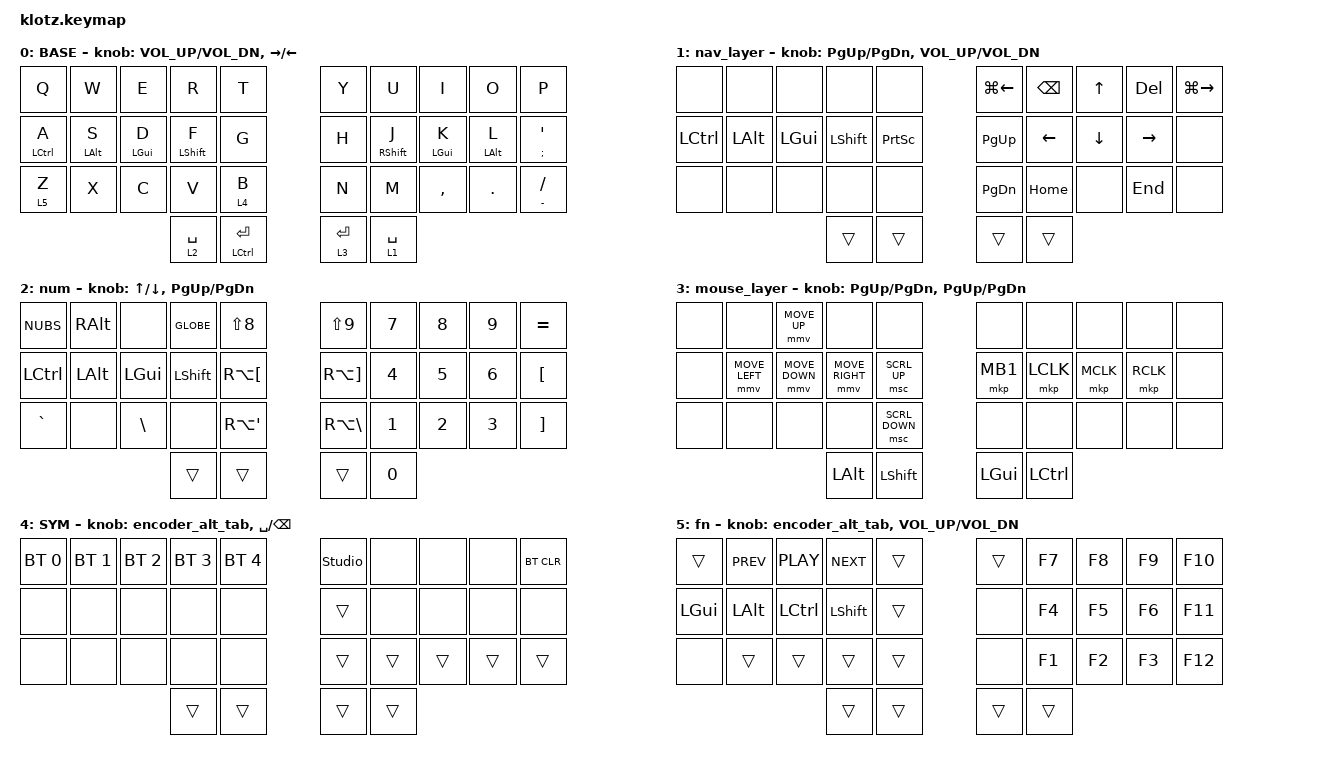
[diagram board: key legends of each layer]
//                                      █         ██        ▄▀▀▀▀▀▀▀▀▀▀█▀▀▀▀▀▀▀▀█▀▀▀▀▀▀▀▀▀▀█
//                                      █        █ █      ▄▀            ▀▄      █         █
//                                      █       █  █    ▄▀                ▀▄    █        █
//                                      █      █   █   █                    █   █       █
//                                      █     █    █   █                    █   █      █
//                                      █    █     █   █                    █   █  ▀▀▀█▀▀▀▀
//                                      █   █ █    █   █                    █   █    █
//                                      █  █   █   █   █                    █   █   █
//                                      █ █     █  █    ▀▄                ▄▀    █  █
//                                      ██       █ █      ▀▄            ▄▀      █ █
//                                      █         ██▄▄▄▄▄▄▄▄█▄▄▄▄▄▄▄▄▄▄▀        ██▄▄▄▄▄▄▄▄▄▄
//
// ▄▄▄▄▄▄▄▄▄▄▄▄▄▄▄▄▄▄▄▄▄▄▄▄▄▄▄▄▄▄▄▄▄▄▄▄▄▄▄▄▄▄▄▄▄▄▄▄▄▄▄▄▄▄▄▄▄▄▄▄▄▄▄▄▄▄▄▄▄▄▄▄▄▄▄▄▄▄▄▄▄▄▄▄▄▄▄▄▄▄▄▄▄▄▄▄▄▄▄▄▄▄▄▄▄▄▄▄▄▄▄▄▄▄▄▄▄▄▄▄▄▄▄▄▄

#include <behaviors.dtsi>
#include <dt-bindings/zmk/bt.h>
#include <dt-bindings/zmk/keys.h>
#include <dt-bindings/zmk/pointing.h>

#define ZMK_POINTING_DEFAULT_MOVE_VAL 2000  // default: 600
#define ZMK_POINTING_DEFAULT_SCRL_VAL 30   // default: 10
#define ZMK_MOUSE_SCRL_VAL 120
#define BASE 0
#define NAV  1
#define SYM  2
#define ADJ  3
#define JMP  4
#define OSL  5
#define COMBOMS 25

&lt {
    flavor = "tap-preferred";
    tapping-term-ms = <180>;
    hold-trigger-key-positions = <>;
};

/ {
    combos {
        // BASE

        compatible = "zmk,combos";

        combo_backspace {
            timeout-ms = <COMBOMS>;
            key-positions = <0 1>;
            bindings = <&kp BACKSPACE>;
            layers = <0>;
        };

        compatible = "zmk,combos";

        // GLOBAL

        compatible = "zmk,combos";
        compatible = "zmk,combos";
        compatible = "zmk,combos";

        combo_tab {
            timeout-ms = <COMBOMS>;
            key-positions = <13 12>;
            bindings = <&kp TAB>;
            layers = <0>;
        };

        compatible = "zmk,combos";

        combo_bspc {
            timeout-ms = <COMBOMS>;
            key-positions = <16 17>;
            bindings = <&kp BSPC>;
            layers = <0>;
        };

        compatible = "zmk,combos";

        combo_esc {
            timeout-ms = <COMBOMS>;
            key-positions = <11 12 13>;
            bindings = <&kp ESCAPE>;
        };

        compatible = "zmk,combos";
        compatible = "zmk,combos";
        compatible = "zmk,combos";
        compatible = "zmk,combos";
        compatible = "zmk,combos";
        compatible = "zmk,combos";
        compatible = "zmk,combos";
        compatible = "zmk,combos";
        compatible = "zmk,combos";

        combo_mouse {
            bindings = <&tog 3>;
            key-positions = <30 31>;
        };

        combo_capsword {
            bindings = <&caps_word>;
            key-positions = <13 16>;
        };
    };

    macros {
        macro_esc: macro_esc {
            compatible = "zmk,behavior-macro";
            #binding-cells = <0>;
            bindings = <&to 0 &kp ESC>;
        };

        tabcw: tabcw {
            compatible = "zmk,behavior-macro";
            #binding-cells = <0>;
            bindings = <&macro_tap>, <&kp TAB>;
        };

        tabccw: tabccw {
            compatible = "zmk,behavior-macro";
            #binding-cells = <0>;
            bindings =
                <&macro_press>,
                <&kp LCTRL>,
                <&macro_tap>,
                <&kp TAB>,
                <&macro_release>,
                <&kp LCTRL>;
        };

        macro_ctrlz: macro_ctrlz {
            compatible = "zmk,behavior-macro";
            #binding-cells = <0>;
            bindings =
                <&macro_press>,
                <&kp LCTRL>,
                <&macro_tap>,
                <&kp Z>,
                <&macro_release>,
                <&kp LCTRL>;
        };

        macro_ctrlshftz: macro_ctrlshftz {
            compatible = "zmk,behavior-macro";
            #binding-cells = <0>;
            bindings =
                <&macro_press>,
                <&kp LCTRL>,
                <&macro_press>,
                <&kp LSHFT>,
                <&macro_tap>,
                <&kp Z>,
                <&macro_release>,
                <&kp LCTRL>,
                <&macro_release>,
                <&kp LSHFT>;
        };

        macro_ctrlx: macro_ctrlx {
            compatible = "zmk,behavior-macro";
            #binding-cells = <0>;
            bindings =
                <&macro_press>,
                <&kp LCTRL>,
                <&macro_tap>,
                <&kp X>,
                <&macro_release>,
                <&kp LCTRL>;
        };

        macro_ctrlc: macro_ctrlc {
            compatible = "zmk,behavior-macro";
            #binding-cells = <0>;
            bindings =
                <&macro_press>,
                <&kp LCTRL>,
                <&macro_tap>,
                <&kp C>,
                <&macro_release>,
                <&kp LCTRL>;
        };

        macro_ctrlv: macro_ctrlv {
            compatible = "zmk,behavior-macro";
            #binding-cells = <0>;
            bindings =
                <&macro_press>,
                <&kp LCTRL>,
                <&macro_tap>,
                <&kp V>,
                <&macro_release>,
                <&kp LCTRL>;
        };

        macro_ctrls: macro_ctrls {
            compatible = "zmk,behavior-macro";
            #binding-cells = <0>;
            bindings =
                <&macro_press>,
                <&kp LCTRL>,
                <&macro_tap>,
                <&kp S>,
                <&macro_release>,
                <&kp LCTRL>;
        };

        macro_up: macro_up {
            compatible = "zmk,behavior-macro";
            #binding-cells = <0>;
            bindings =
                <&macro_press>,
                <&kp LCTRL>,
                <&macro_tap>,
                <&kp U>,
                <&macro_release>,
                <&kp LCTRL>;
        };

        macro_down: macro_down {
            compatible = "zmk,behavior-macro";
            #binding-cells = <0>;
            bindings =
                <&macro_press>,
                <&kp LCTRL>,
                <&macro_tap>,
                <&kp D>,
                <&macro_release>,
                <&kp LCTRL>;
        };

        os_hk: os_hk {
            compatible = "zmk,behavior-macro-one-param";
            #binding-cells = <1>;
            bindings =
                <&macro_press>,
                <&kp LALT>,
                <&macro_press>,
                <&kp LGUI>,
                <&macro_press>,
                <&kp LSHFT &macro_param_1to1>,
                <&macro_tap>,
                <&kp MACRO_PLACEHOLDER>,
                <&macro_release>,
                <&kp LALT>,
                <&macro_release>,
                <&kp LGUI>,
                <&macro_release>,
                <&kp LSHFT>;
        };

        m_set: m_set {
            compatible = "zmk,behavior-macro-one-param";
            #binding-cells = <1>;
            bindings =
                <&macro_tap>,
                <&kp M>,
                <&macro_press>,
                <&kp LSHFT &macro_param_1to1>,
                <&macro_tap>,
                <&kp MACRO_PLACEHOLDER>,
                <&macro_release>,
                <&kp LSHFT>;
        };

        m_jmp: m_jmp {
            compatible = "zmk,behavior-macro-one-param";
            #binding-cells = <1>;
            bindings =
                <&macro_tap>,
                <&kp GRAVE>,
                <&macro_press>,
                <&kp LSHFT &macro_param_1to1>,
                <&macro_tap>,
                <&kp MACRO_PLACEHOLDER>,
                <&macro_release>,
                <&kp LSHFT>;
        };

        m_paste: m_paste {
            compatible = "zmk,behavior-macro-one-param";
            #binding-cells = <1>;
            bindings =
                <&macro_tap>,
                <&kp DQT &macro_param_1to1>,
                <&macro_tap>,
                <&kp MACRO_PLACEHOLDER>,
                <&macro_tap>,
                <&kp P>;
        };

        m_dkp: m_dkp {
            compatible = "zmk,behavior-macro-two-param";
            #binding-cells = <2>;
            bindings =
                <&macro_param_1to1>,
                <&macro_tap>,
                <&kp MACRO_PLACEHOLDER &macro_param_2to1>,
                <&macro_tap>,
                <&kp MACRO_PLACEHOLDER>;
        };
    };

    behaviors {
        encoder_alt_tab: encoder_alt_tab {
            compatible = "zmk,behavior-sensor-rotate";
            #sensor-binding-cells = <0>;
            bindings = <&tabcw>, <&tabccw>;
        };

        hml: hml {
            compatible = "zmk,behavior-hold-tap";
            #binding-cells = <2>;
            flavor = "tap-preferred";
            bindings = <&kp>, <&kp>;

            tapping-term-ms = <200>;
        };

        ctl: custom_tap_layer {
            compatible = "zmk,behavior-hold-tap";
            #binding-cells = <2>;
            flavor = "tap-preferred";
            bindings = <&mo>, <&kp>;

            tapping-term-ms = <220>;
            quick-tap-ms = <175>;
        };

        htl: hold_toggle_layer {
            compatible = "zmk,behavior-hold-tap";
            #binding-cells = <2>;
            flavor = "balanced";
            bindings = <&mo>, <&tog>;

            tapping-term-ms = <220>;
        };

        csl: custom_sticky_layer {
            compatible = "zmk,behavior-sticky-key";
            #binding-cells = <1>;
            bindings = <&mo>;
            release-after-ms = <2000>;
            quick-release;
            ignore-modifiers;
        };

        skq: sticky_key_quick_release {
            compatible = "zmk,behavior-sticky-key";
            #binding-cells = <1>;
            bindings = <&kp>;
            release-after-ms = <2000>;
            quick-release;
            ignore-modifiers;
        };

        hmr: hmr {
            compatible = "zmk,behavior-hold-tap";
            #binding-cells = <2>;
            flavor = "tap-preferred";
            bindings = <&kp>, <&kp>;

            tapping-term-ms = <200>;
            label = "HMR";
        };

        msc_scroll: msc_scroll {
            compatible = "zmk,behavior-sensor-rotate";
            label = "MSC_SCROLL";
            #sensor-binding-cells = <0>;
            bindings = <&msc SCRL_UP>, <&msc SCRL_DOWN>;

            tap-ms = <120>;
        };
    };

    keymap {
        compatible = "zmk,keymap";

        // ▄▄▄▄▄▄▄▄▄▄▄▄▄▄▄▄▄▄▄▄▄▄▄▄▄▄▄▄▄▄▄▄▄▄▄▄▄▄▄▄▄▄▄▄▄▄▄▄▄▄▄▄▄▄▄▄▄▄▄▄▄▄▄▄▄▄▄▄▄▄▄▄▄▄▄▄▄▄▄▄▄▄▄▄▄▄▄▄▄▄▄▄▄▄▄▄▄▄▄▄▄▄▄▄▄▄▄▄▄▄▄▄▄▄▄▄▄▄▄▄▄▄▄▄▄

        base_layer {
            // ┏━━━━━━━━━━━━━━━━━━━━━━━━━━━━━━━━━━━━━━━┓

            display-name = "BASE";

            // ┗━━━━━━━━━━━━━━━━━━━━━━━━━━━━━━━━━━━━━━━┛

            bindings = <
&kp Q                &kp W            &kp E            &kp R              &kp T                    &kp Y        &kp U               &kp I            &kp O            &kp P
&hml LEFT_CONTROL A  &hml LEFT_ALT S  &hml LEFT_GUI D  &hml LEFT_SHIFT F  &kp G                    &kp H        &hmr RIGHT_SHIFT J  &hmr LEFT_GUI K  &hmr LEFT_ALT L  &hmr SEMICOLON APOSTROPHE
&lt 5 Z              &kp X            &kp C            &kp V              &lt 4 B                  &kp N        &kp M               &kp COMMA        &kp PERIOD       &mt MINUS SLASH
                                                       &lt 2 SPACE        &hml LEFT_CONTROL ENTER  &lt 3 ENTER  &lt 1 SPACE
            >;

            sensor-bindings =
                <&inc_dec_kp C_VOL_UP C_VOL_DN>,
                <&inc_dec_kp RIGHT LEFT>;
        };

        nav_layer {
            bindings = <
&none             &none     &none         &none      &none            &kp LG(LEFT_ARROW)  &kp BACKSPACE   &kp UP_ARROW    &kp DELETE  &kp LG(RIGHT)
&kp LEFT_CONTROL  &kp LALT  &kp LEFT_GUI  &kp LSHFT  &kp PRINTSCREEN  &kp PAGE_UP         &kp LEFT_ARROW  &kp DOWN_ARROW  &kp RIGHT   &none
&none             &none     &none         &none      &none            &kp PAGE_DOWN       &kp HOME        &none           &kp END     &none
                                          &trans     &trans           &trans              &trans
            >;

            sensor-bindings =
                <&inc_dec_kp PG_UP PAGE_DOWN>,
                <&inc_dec_kp C_VOLUME_UP C_VOL_DN>;
        };

        num_layer {
            // ┏━━━━━━━━━━━━━━━━━━━━━━━━━━━━━━━━━━━━━━━┓

            display-name = "num";

            // ┗━━━━━━━━━━━━━━━━━━━━━━━━━━━━━━━━━━━━━━━┛

            bindings = <
&kp NUBS          &kp RIGHT_ALT  &none          &kp GLOBE       &kp LS(NUMBER_8)      &kp LS(NUMBER_9)       &kp NUMBER_7  &kp NUMBER_8  &kp N9        &kp EQUAL
&kp LEFT_CONTROL  &kp LEFT_ALT   &kp LEFT_GUI   &kp LEFT_SHIFT  &kp RA(LEFT_BRACKET)  &kp RA(RIGHT_BRACKET)  &kp NUMBER_4  &kp NUMBER_5  &kp NUMBER_6  &kp LEFT_BRACKET
&kp GRAVE         &none          &kp BACKSLASH  &none           &kp RA(APOS)          &kp RA(BACKSLASH)      &kp NUMBER_1  &kp NUMBER_2  &kp NUMBER_3  &kp RIGHT_BRACKET
                                                &trans          &trans                &trans                 &kp NUMBER_0
            >;

            sensor-bindings =
                <&inc_dec_kp UP_ARROW DOWN_ARROW>,
                <&inc_dec_kp PG_UP PG_DN>;
        };

        mouse_layer {
            bindings = <
&none  &none           &mmv MOVE_UP    &none            &none           &none         &none             &none      &none      &none
&none  &mmv MOVE_LEFT  &mmv MOVE_DOWN  &mmv MOVE_RIGHT  &msc SCRL_UP    &mkp MB1      &mkp LCLK         &mkp MCLK  &mkp RCLK  &none
&none  &none           &none           &none            &msc SCRL_DOWN  &none         &none             &none      &none      &none
                                       &kp LEFT_ALT     &kp LEFT_SHIFT  &kp LEFT_GUI  &kp LEFT_CONTROL
            >;

            sensor-bindings =
                <&inc_dec_kp PG_UP PAGE_DOWN>,
                <&inc_dec_kp PAGE_UP PAGE_DOWN>;
        };

        system_layer {
            // ┏━━━━━━━━━━━━━━━━━━━━━━━━━━━━━━━━━━━━━━━┓

            display-name = "SYM";

            // ┗━━━━━━━━━━━━━━━━━━━━━━━━━━━━━━━━━━━━━━━┛

            bindings = <
&bt BT_SEL 0  &bt BT_SEL 1  &bt BT_SEL 2  &bt BT_SEL 3  &bt BT_SEL 4  &studio_unlock  &none   &none   &none   &bt BT_CLR
&none         &none         &none         &none         &none         &trans          &none   &none   &none   &none
&none         &none         &none         &none         &none         &trans          &trans  &trans  &trans  &trans
                                          &trans        &trans        &trans          &trans
            >;

            sensor-bindings = <&encoder_alt_tab>, <&inc_dec_kp SPACE BACKSPACE>;
        };

        fn_layer {
            // ┏━━━━━━━━━━━━━━━━━━━━━━━━━━━━━━━━━━━━━━━┓

            display-name = "fn";

            // ┗━━━━━━━━━━━━━━━━━━━━━━━━━━━━━━━━━━━━━━━┛

            bindings = <
&trans        &kp C_PREV    &kp C_PLAY  &kp C_NEXT      &trans  &trans  &kp F7  &kp F8  &kp F9  &kp F10
&kp LEFT_GUI  &kp LEFT_ALT  &kp LCTRL   &kp LEFT_SHIFT  &trans  &none   &kp F4  &kp F5  &kp F6  &kp F11
&none         &trans        &trans      &trans          &trans  &none   &kp F1  &kp F2  &kp F3  &kp F12
                                        &trans          &trans  &trans  &trans
            >;

            sensor-bindings = <&encoder_alt_tab &inc_dec_kp C_VOL_UP C_VOL_DN>;
        };
    };
};
